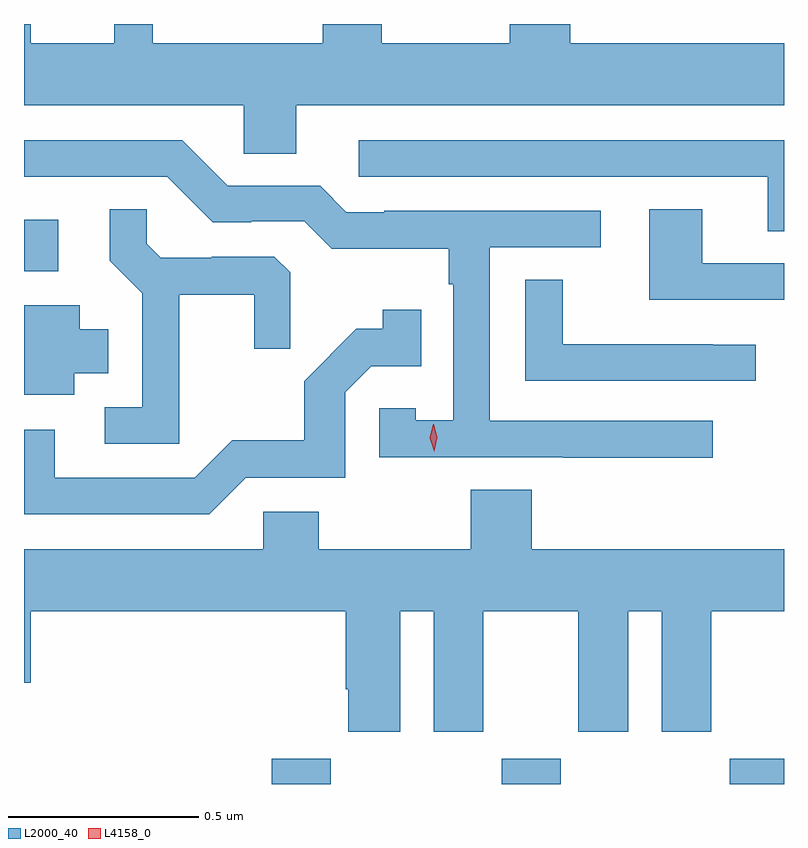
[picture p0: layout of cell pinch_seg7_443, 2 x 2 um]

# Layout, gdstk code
import gdstk
lib = gdstk.Library(unit=1e-6, precision=1e-09)
def R(c, l, rs):  # rectangles x0, y0, x1, y1
    for r in rs: c.add(gdstk.rectangle(r[:2], r[2:], *l))
def P(c, l, *ps):  # polygons
    for p in ps: c.add(gdstk.Polygon(p, *l))
L2000_40 = (2000, 40)
L4158_0 = (4158, 0)

pinch_seg7_443 = lib.new_cell('pinch_seg7_443')
R(pinch_seg7_443, L2000_40, [(333.638,1061.434,333.793,1061.5), (334.243,1061.434,334.398,1061.5), (334.843,1061.434,334.986,1061.5), (332.986,1062.783,333.076,1062.919)])
P(pinch_seg7_443, L2000_40, [(333.703,1063.22),(334.986,1063.22),(334.986,1063.384),(334.424,1063.384),(334.424,1063.434),(334.264,1063.434),(334.264,1063.384),(333.927,1063.384),(333.927,1063.434),(333.772,1063.434),(333.772,1063.384),(333.325,1063.384),(333.325,1063.434),(333.224,1063.434),(333.224,1063.384),(333.004,1063.384),(333.004,1063.434),(332.986,1063.434),(332.986,1063.22),(333.564,1063.22),(333.564,1063.093),(333.703,1063.093)],
  [(334.986,1063.128),(333.867,1063.128),(333.867,1063.032),(334.943,1063.032),(334.943,1062.889),(334.986,1062.889)],
  [(334.798,1062.39),(334.212,1062.39),(334.212,1062.846),(334.504,1062.846),(334.504,1062.942),(333.934,1062.942),(333.934,1062.939),(333.834,1062.939),(333.765,1063.008),(333.522,1063.008),(333.402,1063.128),(332.986,1063.128),(332.986,1063.032),(333.363,1063.032),(333.483,1062.912),(333.584,1062.912),(333.584,1062.915),(333.723,1062.915),(333.796,1062.842),(334.104,1062.842),(334.104,1062.749),(334.116,1062.749),(334.116,1062.391),(334.017,1062.391),(334.017,1062.423),(333.921,1062.423),(333.921,1062.294),(334.405,1062.294),(334.405,1062.292),(334.798,1062.292)],
  [(333.395,1062.722),(333.592,1062.722),(333.592,1062.579),(333.686,1062.579),(333.686,1062.781),(333.645,1062.822),(333.48,1062.822),(333.48,1062.819),(333.346,1062.819),(333.309,1062.856),(333.309,1062.947),(333.211,1062.947),(333.211,1062.811),(333.297,1062.725),(333.297,1062.426),(333.198,1062.426),(333.198,1062.33),(333.395,1062.33)],
  [(334.986,1062.804),(334.771,1062.804),(334.771,1062.947),(334.631,1062.947),(334.631,1062.708),(334.986,1062.708)],
  [(334.912,1062.59),(334.799,1062.59),(334.799,1062.591),(334.404,1062.591),(334.404,1062.761),(334.305,1062.761),(334.305,1062.495),(334.912,1062.495)],
  [(333.118,1062.515),(333.208,1062.515),(333.208,1062.631),(333.133,1062.631),(333.133,1062.694),(332.986,1062.694),(332.986,1062.458),(333.118,1062.458)],
  [(333.57,1062.24),(333.831,1062.24),(333.831,1062.465),(333.9,1062.534),(334.031,1062.534),(334.031,1062.682),(333.93,1062.682),(333.93,1062.632),(333.86,1062.632),(333.723,1062.494),(333.723,1062.339),(333.534,1062.339),(333.435,1062.24),(333.067,1062.24),(333.067,1062.366),(332.986,1062.366),(332.986,1062.144),(333.474,1062.144)],
  [(333.976,1061.888),(334.064,1061.888),(334.064,1061.571),(334.195,1061.571),(334.195,1061.888),(334.445,1061.888),(334.445,1061.571),(334.576,1061.571),(334.576,1061.888),(334.664,1061.888),(334.664,1061.571),(334.795,1061.571),(334.795,1061.888),(334.986,1061.888),(334.986,1062.052),(334.322,1062.052),(334.322,1062.209),(334.162,1062.209),(334.162,1062.052),(333.762,1062.052),(333.762,1062.15),(333.615,1062.15),(333.615,1062.052),(332.986,1062.052),(332.986,1061.7),(333.004,1061.7),(333.004,1061.888),(333.833,1061.888),(333.833,1061.683),(333.839,1061.683),(333.839,1061.571),(333.976,1061.571)])
P(pinch_seg7_443, L4158_0, [(334.065,1062.309),(334.065,1062.31),(334.054,1062.345),(334.063,1062.381),(334.063,1062.381),(334.064,1062.381),(334.074,1062.346),(334.065,1062.31)])

lib.write_gds('pinch_seg7_443.gds')
